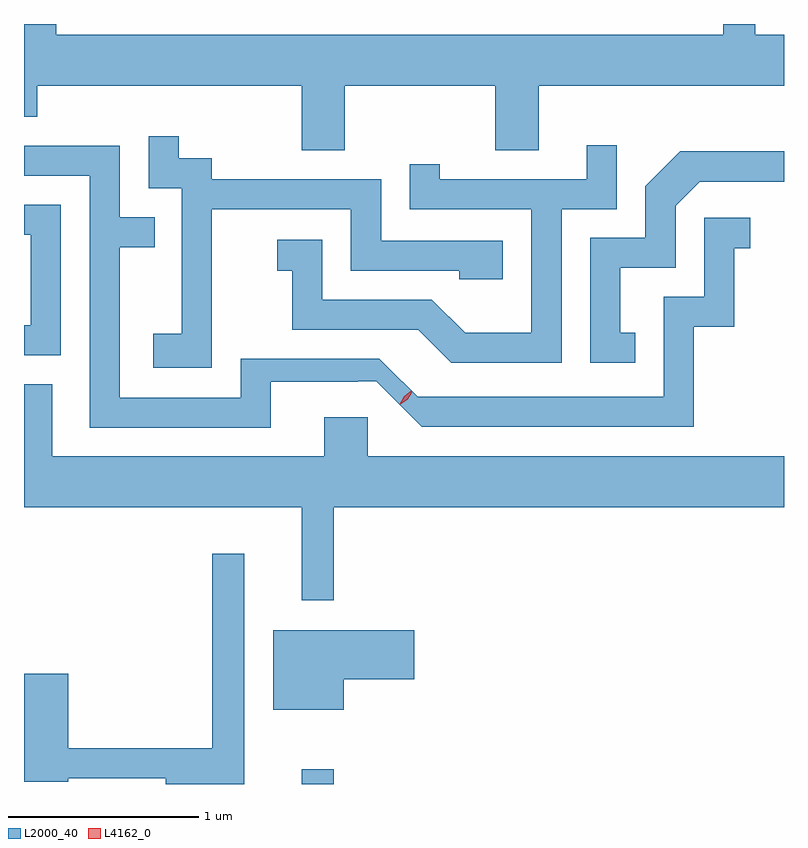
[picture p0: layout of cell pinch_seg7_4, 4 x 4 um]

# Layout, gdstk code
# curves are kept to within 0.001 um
import gdstk
lib = gdstk.Library(unit=1e-6, precision=1e-09)
def R(c, l, rs):  # rectangles x0, y0, x1, y1
    for r in rs: c.add(gdstk.rectangle(r[:2], r[2:], *l))
def P(c, l, *ps):  # polygons
    for p in ps: c.add(gdstk.Polygon(p, *l))
L2000_40 = (2000, 40)
L4162_0 = (4162, 0)

pinch_seg7_4 = lib.new_cell('pinch_seg7_4')
R(pinch_seg7_4, L2000_40, [(1187.631,1795,1187.799,1795.078)])
P(pinch_seg7_4, L2000_40, [(1187.859,1798.676),(1188.651,1798.676),(1188.651,1798.336),(1188.879,1798.336),(1188.879,1798.676),(1190.17,1798.676),(1190.17,1798.944),(1190.019,1798.944),(1190.019,1799),(1189.851,1799),(1189.851,1798.944),(1186.339,1798.944),(1186.339,1799),(1186.17,1799),(1186.17,1798.511),(1186.239,1798.511),(1186.239,1798.676),(1187.631,1798.676),(1187.631,1798.336),(1187.859,1798.336)],
  [(1187.159,1798.026),(1187.891,1798.026),(1187.891,1797.701),(1188.461,1797.701),(1188.461,1797.656),(1188.689,1797.656),(1188.689,1797.859),(1188.049,1797.859),(1188.049,1798.184),(1187.159,1798.184),(1187.159,1798.294),(1186.984,1798.294),(1186.984,1798.408),(1186.826,1798.408),(1186.826,1798.136),(1187.001,1798.136),(1187.001,1797.369),(1186.851,1797.369),(1186.851,1797.191),(1187.159,1797.191)],
  [(1188.999,1798.026),(1189.289,1798.026),(1189.289,1798.363),(1189.131,1798.363),(1189.131,1798.184),(1188.359,1798.184),(1188.359,1798.263),(1188.201,1798.263),(1188.201,1798.026),(1188.841,1798.026),(1188.841,1797.374),(1188.492,1797.374),(1188.317,1797.549),(1187.739,1797.549),(1187.739,1797.864),(1187.503,1797.864),(1187.503,1797.701),(1187.581,1797.701),(1187.581,1797.391),(1188.244,1797.391),(1188.419,1797.216),(1188.999,1797.216)],
  [(1187.469,1797.118),(1188.025,1797.119),(1188.263,1796.881),(1189.694,1796.881),(1189.694,1797.406),(1189.909,1797.406),(1189.909,1797.821),(1189.993,1797.821),(1189.993,1797.979),(1189.751,1797.979),(1189.751,1797.564),(1189.536,1797.564),(1189.536,1797.039),(1188.242,1797.038),(1188.039,1797.239),(1187.311,1797.239),(1187.311,1797.034),(1186.674,1797.034),(1186.674,1797.826),(1186.858,1797.826),(1186.858,1797.984),(1186.674,1797.984),(1186.674,1798.359),(1186.17,1798.359),(1186.17,1798.201),(1186.516,1798.201),(1186.516,1796.876),(1187.469,1796.876)],
  [(1189.388,1797.374),(1189.309,1797.374),(1189.309,1797.716),(1189.599,1797.716),(1189.599,1798.044),(1189.727,1798.171),(1190.17,1798.171),(1190.17,1798.329),(1189.624,1798.329),(1189.441,1798.147),(1189.441,1797.874),(1189.151,1797.874),(1189.151,1797.216),(1189.388,1797.216)],
  [(1186.364,1798.049),(1186.17,1798.049),(1186.17,1797.891),(1186.206,1797.891),(1186.206,1797.414),(1186.17,1797.414),(1186.17,1797.256),(1186.364,1797.256)],
  [(1187.799,1796.456),(1190.17,1796.456),(1190.17,1796.724),(1187.979,1796.724),(1187.979,1796.929),(1187.751,1796.929),(1187.751,1796.724),(1186.319,1796.724),(1186.319,1797.104),(1186.17,1797.104),(1186.17,1796.456),(1187.631,1796.456),(1187.631,1795.968),(1187.799,1795.968)],
  [(1187.329,1796.213),(1187.161,1796.213),(1187.161,1795.189),(1186.404,1795.189),(1186.404,1795.579),(1186.17,1795.579),(1186.17,1795.011),(1186.404,1795.011),(1186.404,1795.031),(1186.916,1795.031),(1186.916,1795),(1187.329,1795)],
  [(1187.854,1795.551),(1188.224,1795.551),(1188.224,1795.809),(1187.481,1795.809),(1187.481,1795.391),(1187.854,1795.391)])
P(pinch_seg7_4, L4162_0, [(1188.148,1796.998),(1188.148,1796.999),(1188.171,1797.04),(1188.209,1797.069),(1188.21,1797.069),(1188.21,1797.068),(1188.186,1797.027),(1188.149,1796.998)],
  [(1188.154,1797.001),(1188.154,1797.002),(1188.175,1797.038),(1188.209,1797.061),(1188.21,1797.061),(1188.21,1797.06),(1188.189,1797.024),(1188.155,1797.001)])

lib.write_gds('pinch_seg7_4.gds')
